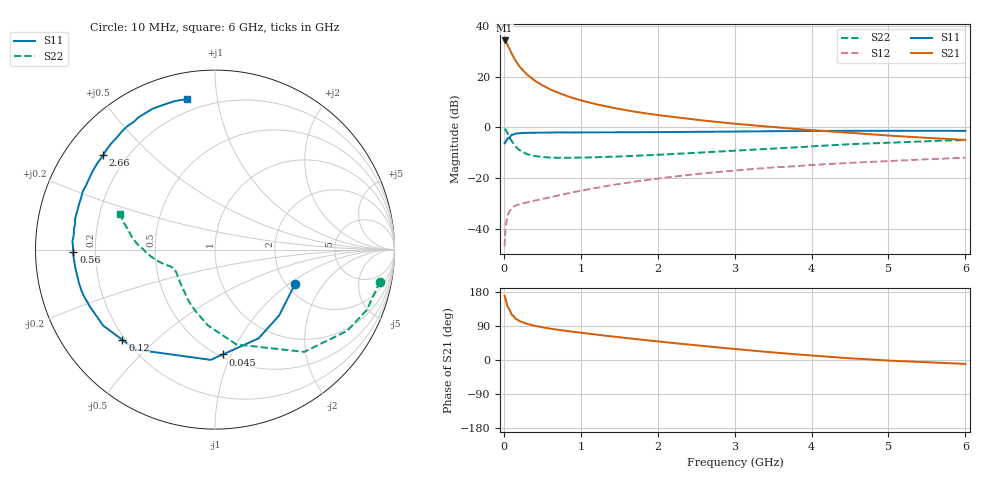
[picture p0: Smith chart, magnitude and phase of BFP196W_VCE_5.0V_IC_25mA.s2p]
! Infineon Technologies  Discrete & RF Semiconductors
! BFP196W
! VCE = 5.0 V,  IC =  25mA
! Common Emitter S-Parameters:  Jan 2016
# GHz  S  MA  R  50
!  f  S11  S21  S12  S22
! GHz  MAG  ANG  MAG  ANG  MAG  ANG  MAG  ANG
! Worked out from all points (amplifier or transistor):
!   210 points, 10 MHz to 6 GHz, reference 50 ohm
!   highest |S21| = 34.3 dB at 10 MHz (marker M1)
!   |S21| within 3 dB of that: start of sweep to 68.07 MHz
!   unconditionally stable (mu >= 1): 833.6 MHz to 3.376 GHz
!   at 185 MHz: K = 0.38, MSG = 27.7 dB, |S12| = -30.5 dB
!   at 1.52 GHz: K = 1.13, MAG = 12.5 dB, |S12| = -22.3 dB
!   at 6 GHz: K = 0.95, MSG = 3.5 dB, |S12| = -12.0 dB
!   S11 on the Smith chart (normalised r, x): 10 MHz: 2.22, -1.11; 45 MHz: 0.52, -0.93; 120 MHz: 0.19, -0.39; 560 MHz: 0.12, -0.01; 2.66 GHz: 0.11, +0.36; 6 GHz: 0.13, +0.82
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0.01  0.4849 -23.3  52.13 169.2  0.0045 79.2  0.9362 -11.0
0.02  0.5125 -45.8  51.22 161.9  0.0093 73.2  0.9102 -21.7
0.03  0.5509 -63.9  48.68 154.1  0.0127 68.0  0.8645 -31.6
0.045  0.586 -85.8  43.59 144.1  0.0171 57.9  0.7762 -44.2
0.05  0.6148 -92.2  42.23 140.3  0.0187 55.6  0.7563 -48.9
0.1  0.712 -128.6  28.78 120.2  0.0255 40.4  0.5416 -77.3
0.12  0.7205 -135.7  25.54 116.6  0.0267 38.0  0.4889 -83.5
0.15  0.7531 -145.8  20.95 109.2  0.0285 34.7  0.4238 -95.4
0.2  0.7656 -155.3  16.17 103.0  0.0302 33.5  0.3583 -107.8
0.24  0.7748 -160.4  13.82 99.6  0.0314 33.3  0.3302 -114.9
0.3  0.7802 -165.9  11.05 95.3  0.0327 34.4  0.2957 -124.0
0.4  0.7845 -172.4  8.39 90.2  0.0357 36.8  0.2727 -133.9
0.56  0.7892 -178.9  6.093 84.2  0.0404 41.8  0.2563 -143.7
0.8  0.791 174.1  4.261 77.0  0.0485 47.3  0.2501 -151.1
1.02  0.7935 169.2  3.36 71.5  0.0566 50.7  0.2525 -155.0
1.4  0.7988 161.6  2.471 62.3  0.072 53.7  0.2629 -158.7
2.02  0.8058 150.4  1.738 48.6  0.0983 54.2  0.2881 -163.1
2.66  0.8161 139.8  1.333 35.5  0.1262 51.5  0.324 -168.6
3.1  0.8283 132.8  1.145 27.3  0.1452 48.6  0.353 -173.0
4.1  0.8521 118.8  0.86 10.5  0.1842 41.5  0.4302 176.4
5.1  0.8565 108.0  0.674 -2.4  0.2198 34.0  0.5058 166.1
6  0.8529 100.6  0.566 -10.3  0.2516 27.7  0.5629 159.4
